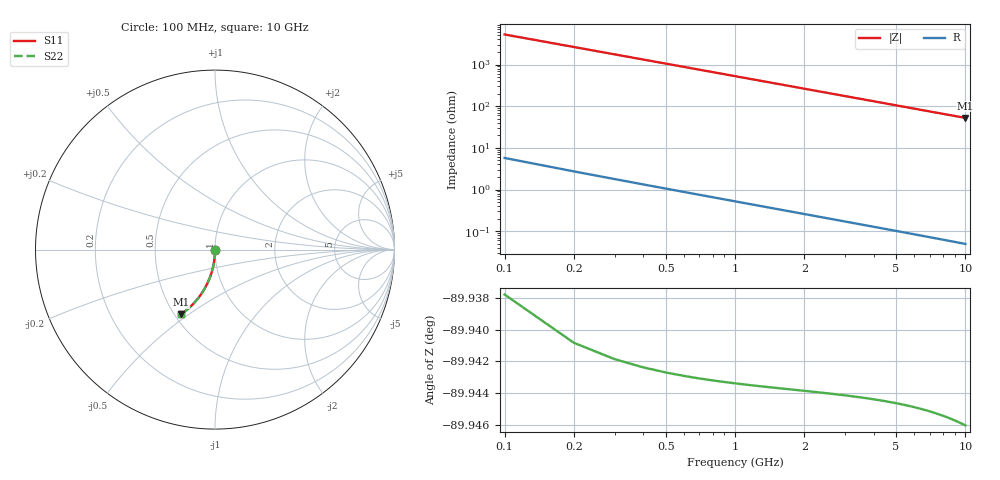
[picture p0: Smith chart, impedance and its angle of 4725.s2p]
# Hz S RI R 50.00
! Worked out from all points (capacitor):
!   100 points, 100 MHz to 10 GHz, reference 50 ohm
!   read as one part in shunt: C = 302 fF near 100 MHz
!   lowest |Z| = 52.4 ohm at 10 GHz (marker M1)
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1e8  5.83e-05 -0.00443  0.9999 -0.00506  0.9999 -0.00506  5.83e-05 -0.00443
2e8  -1.3e-05 -0.00887  0.9998 -0.0101  0.9998 -0.0101  -1.3e-05 -0.00887
3e8  -0.000129 -0.0133  0.9997 -0.0152  0.9997 -0.0152  -0.000129 -0.0133
4e8  -0.000291 -0.0177  0.9995 -0.0202  0.9995 -0.0202  -0.000291 -0.0177
5e8  -0.000497 -0.0222  0.9993 -0.0253  0.9993 -0.0253  -0.000497 -0.0222
6e8  -0.000748 -0.0266  0.9991 -0.0303  0.9991 -0.0303  -0.000748 -0.0266
7e8  -0.00104 -0.031  0.9988 -0.0354  0.9988 -0.0354  -0.00104 -0.031
8e8  -0.00138 -0.0354  0.9984 -0.0404  0.9984 -0.0404  -0.00138 -0.0354
9e8  -0.00177 -0.0399  0.998 -0.0455  0.998 -0.0455  -0.00177 -0.0399
1.1e9  -0.00267 -0.0487  0.9971 -0.0555  0.9971 -0.0555  -0.00267 -0.0487
1.4e9  -0.00436 -0.0619  0.9954 -0.0706  0.9954 -0.0706  -0.00436 -0.0619
1.8e9  -0.00723 -0.0793  0.9925 -0.0905  0.9925 -0.0905  -0.00723 -0.0793
2.1e9  -0.00984 -0.0923  0.9899 -0.1054  0.9899 -0.1054  -0.00984 -0.0923
2.5e9  -0.0139 -0.1095  0.9858 -0.1251  0.9858 -0.1251  -0.0139 -0.1095
2.9e9  -0.0187 -0.1265  0.981 -0.1446  0.981 -0.1446  -0.0187 -0.1265
3.4e9  -0.0256 -0.1473  0.974 -0.1685  0.974 -0.1685  -0.0256 -0.1473
4.2e9  -0.0386 -0.1796  0.9609 -0.2059  0.9609 -0.2059  -0.0386 -0.1796
5.1e9  -0.0561 -0.2143  0.9432 -0.2462  0.9432 -0.2462  -0.0561 -0.2143
5.9e9  -0.0739 -0.2433  0.9252 -0.2803  0.9252 -0.2803  -0.0739 -0.2433
6.7e9  -0.0936 -0.2704  0.9054 -0.3125  0.9054 -0.3125  -0.0936 -0.2704
8.4e9  -0.1404 -0.3212  0.8579 -0.3743  0.8579 -0.3743  -0.1404 -0.3212
1e10  -0.189 -0.3601  0.8087 -0.4237  0.8087 -0.4237  -0.189 -0.3601
